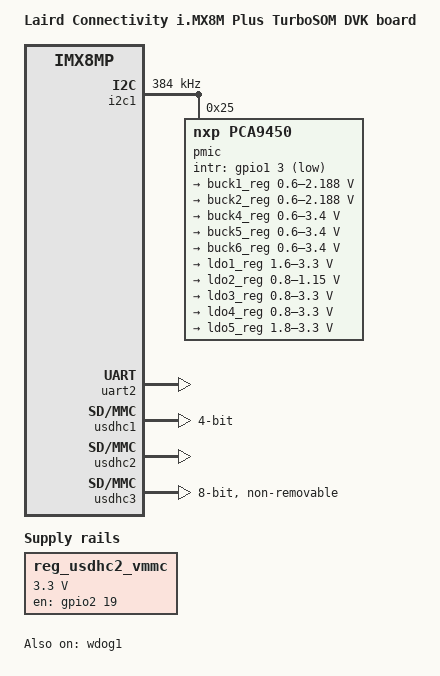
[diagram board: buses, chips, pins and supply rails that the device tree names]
// SPDX-License-Identifier: (GPL-2.0+ OR MIT)
/*
* Copyright 2021 Laird Connectivity
  */

/dts-v1/;

#include <dt-bindings/usb/pd.h>
#include <dt-bindings/net/ti-dp83867.h>
#include "imx8mp.dtsi"

/ {
	model = "Laird Connectivity i.MX8M Plus TurboSOM DVK board";
	compatible = "fsl,imx8mp-turbosom", "fsl,imx8mp";

	reserved-memory {
		#address-cells = <2>;
		#size-cells = <2>;
		ranges;

		linux,cma {
			alloc-ranges = <0 0x40000000 0 0x20000000>;
		};

		rpmsg_reserved: rpmsg@0x55800000 {
			no-map;
			reg = <0 0x55800000 0 0x800000>;
		};
	};

	chosen {
		stdout-path = &uart2;
	};

	gpio_wifi {
		compatible = "gpio-of-helper";
		status = "disabled";

		pinctrl-names = "default";
		pinctrl-0 = <&pinctrl_wifibs>;

		wifi_bs0 {
			gpio-name = "wifi_bs0";
			gpio = <&gpio2 8 GPIO_ACTIVE_HIGH>;
			output;
		};

		wifi_bs1 {
			gpio-name = "wifi_bs1";
			gpio = <&gpio2 9 GPIO_ACTIVE_HIGH>;
			output;
		};
	};

	reg_usdhc2_vmmc: regulator-usdhc2 {
		compatible = "regulator-fixed";
		regulator-name = "VSD_3V3";
		regulator-min-microvolt = <3300000>;
		regulator-max-microvolt = <3300000>;
		gpio = <&gpio2 19 GPIO_ACTIVE_HIGH>;
		enable-active-high;
		startup-delay-us = <100>;
		off-on-delay-us = <12000>;
	};
};

&clk {
	init-on-array = <IMX8MP_CLK_HSIO_ROOT>;
};

&A53_0 {
	cpu-supply = <&buck2_reg>;
};

&cpu_alert0 {
	temperature = <95000>;
};

&cpu_crit0 {
	temperature = <105000>;
};

&soc_alert0 {
	temperature = <95000>;
};

&soc_crit0 {
	temperature = <105000>;
};

&i2c1 {
	clock-frequency = <384000>;
	pinctrl-names = "default";
	pinctrl-0 = <&pinctrl_i2c1>;
	status = "okay";

	pmic: pca9450@25 {
		reg = <0x25>;
		compatible = "nxp,pca9450";
		/* PMIC PCA9450 PMIC_nINT GPIO1_IO3 */
		pinctrl-0 = <&pinctrl_pmic>;
		gpio_intr = <&gpio1 3 GPIO_ACTIVE_LOW>;

		regulators {
			#address-cells = <1>;
			#size-cells = <0>;

			pca9450,pmic-buck2-uses-i2c-dvs;
			/* Run/Standby voltage */
			pca9450,pmic-buck2-dvs-voltage = <950000>, <850000>;

			buck1_reg: regulator@0 {
				reg = <0>;
				regulator-compatible = "buck1";
				regulator-min-microvolt = <600000>;
				regulator-max-microvolt = <2187500>;
				regulator-boot-on;
				regulator-always-on;
				regulator-ramp-delay = <3125>;
			};

			buck2_reg: regulator@1 {
				reg = <1>;
				regulator-compatible = "buck2";
				regulator-min-microvolt = <600000>;
				regulator-max-microvolt = <2187500>;
				regulator-boot-on;
				regulator-always-on;
				regulator-ramp-delay = <3125>;
			};

			buck4_reg: regulator@3 {
				reg = <3>;
				regulator-compatible = "buck4";
				regulator-min-microvolt = <600000>;
				regulator-max-microvolt = <3400000>;
				regulator-boot-on;
				regulator-always-on;
			};

			buck5_reg: regulator@4 {
				reg = <4>;
				regulator-compatible = "buck5";
				regulator-min-microvolt = <600000>;
				regulator-max-microvolt = <3400000>;
				regulator-boot-on;
				regulator-always-on;
			};

			buck6_reg: regulator@5 {
				reg = <5>;
				regulator-compatible = "buck6";
				regulator-min-microvolt = <600000>;
				regulator-max-microvolt = <3400000>;
				regulator-boot-on;
				regulator-always-on;
			};

			ldo1_reg: regulator@6 {
				reg = <6>;
				regulator-compatible = "ldo1";
				regulator-min-microvolt = <1600000>;
				regulator-max-microvolt = <3300000>;
				regulator-boot-on;
				regulator-always-on;
			};

			ldo2_reg: regulator@7 {
				reg = <7>;
				regulator-compatible = "ldo2";
				regulator-min-microvolt = <800000>;
				regulator-max-microvolt = <1150000>;
				regulator-boot-on;
				regulator-always-on;
			};

			ldo3_reg: regulator@8 {
				reg = <8>;
				regulator-compatible = "ldo3";
				regulator-min-microvolt = <800000>;
				regulator-max-microvolt = <3300000>;
				regulator-boot-on;
				regulator-always-on;
			};

			ldo4_reg: regulator@9 {
				reg = <9>;
				regulator-compatible = "ldo4";
				regulator-min-microvolt = <800000>;
				regulator-max-microvolt = <3300000>;
				regulator-boot-on;
				regulator-always-on;
			};

			ldo5_reg: regulator@10 {
				reg = <10>;
				regulator-compatible = "ldo5";
				regulator-min-microvolt = <1800000>;
				regulator-max-microvolt = <3300000>;
			};
		};
	};
};

&pcie {
	clocks = <&clk IMX8MP_CLK_HSIO_AXI_DIV>,
		 <&clk IMX8MP_CLK_PCIE_AUX>,
		 <&clk IMX8MP_CLK_PCIE_PHY>,
		 <&clk IMX8MP_CLK_PCIE_ROOT>;
	clock-names = "pcie", "pcie_aux", "pcie_phy", "pcie_bus";
	assigned-clocks = <&clk IMX8MP_CLK_HSIO_AXI_SRC>,
			  <&clk IMX8MP_CLK_PCIE_AUX>;
	assigned-clock-parents = <&clk IMX8MP_SYS_PLL2_500M>,
				 <&clk IMX8MP_SYS_PLL2_50M>;
};

&sdma2 {
	status = "okay";
};

&uart1 {
	pinctrl-names = "default";
	pinctrl-0 = <&pinctrl_uart1>;
	assigned-clocks = <&clk IMX8MP_CLK_UART1>;
	assigned-clock-parents = <&clk IMX8MP_SYS_PLL1_80M>;
};

&uart2 {
	/* console */
	pinctrl-names = "default";
	pinctrl-0 = <&pinctrl_uart2>;
	status = "okay";
};

&uart3 { /* BT */
	pinctrl-names = "default";
	pinctrl-0 = <&pinctrl_uart3>;
	assigned-clocks = <&clk IMX8MP_CLK_UART3>;
	assigned-clock-parents = <&clk IMX8MP_SYS_PLL1_80M>;
	fsl,uart-has-rtscts;
};

&usdhc1 {
	pinctrl-names = "default", "state_100mhz", "state_200mhz";
	pinctrl-0 = <&pinctrl_usdhc1>;
	pinctrl-1 = <&pinctrl_usdhc1_100mhz>;
	pinctrl-2 = <&pinctrl_usdhc1_200mhz>;

	bus-width = <4>;
};

&usdhc2 {
	pinctrl-names = "default", "state_100mhz", "state_200mhz";
	pinctrl-0 = <&pinctrl_usdhc2>;
	pinctrl-1 = <&pinctrl_usdhc2_100mhz>;
	pinctrl-2 = <&pinctrl_usdhc2_200mhz>;

	status = "okay";
};

&usdhc3 {
	pinctrl-names = "default", "state_100mhz", "state_200mhz";
	pinctrl-0 = <&pinctrl_usdhc3>;
	pinctrl-1 = <&pinctrl_usdhc3_100mhz>;
	pinctrl-2 = <&pinctrl_usdhc3_200mhz>;

	bus-width = <8>;
	non-removable;

	status = "okay";
};

&wdog1 {
	pinctrl-names = "default";
	pinctrl-0 = <&pinctrl_wdog>;
	fsl,ext-reset-output;
	status = "okay";
};

&iomuxc {
	pinctrl_i2c1: i2c1grp {
		fsl,pins = <
			MX8MP_IOMUXC_I2C1_SCL__I2C1_SCL		0x400001c2
			MX8MP_IOMUXC_I2C1_SDA__I2C1_SDA		0x400001c2
		>;
	};

	pinctrl_pmic: pmicirq {
		fsl,pins = <
			MX8MP_IOMUXC_GPIO1_IO03__GPIO1_IO03	0x40
		>;
	};

	pinctrl_uart2: uart2grp {
		fsl,pins = <
			MX8MP_IOMUXC_UART2_RXD__UART2_DCE_RX	0x49
			MX8MP_IOMUXC_UART2_TXD__UART2_DCE_TX	0x49
		>;
	};

	pinctrl_uart3: uart3grp {
		fsl,pins = <
			MX8MP_IOMUXC_ECSPI1_SCLK__UART3_DCE_RX		0x140
			MX8MP_IOMUXC_ECSPI1_MOSI__UART3_DCE_TX		0x140
			MX8MP_IOMUXC_ECSPI1_SS0__UART3_DCE_RTS		0x140
			MX8MP_IOMUXC_ECSPI1_MISO__UART3_DCE_CTS		0x140
		>;
	};

	pinctrl_usdhc1: usdhc1grp {
		fsl,pins = <
			MX8MP_IOMUXC_SD1_CLK__USDHC1_CLK	0x190
			MX8MP_IOMUXC_SD1_CMD__USDHC1_CMD	0x1d0
			MX8MP_IOMUXC_SD1_DATA0__USDHC1_DATA0	0x1d0
			MX8MP_IOMUXC_SD1_DATA1__USDHC1_DATA1	0x1d0
			MX8MP_IOMUXC_SD1_DATA2__USDHC1_DATA2	0x1d0
			MX8MP_IOMUXC_SD1_DATA3__USDHC1_DATA3	0x1d0
		>;
	};

	pinctrl_usdhc1_100mhz: usdhc1grp-100mhz {
		fsl,pins = <
			MX8MP_IOMUXC_SD1_CLK__USDHC1_CLK	0x194
			MX8MP_IOMUXC_SD1_CMD__USDHC1_CMD	0x1d4
			MX8MP_IOMUXC_SD1_DATA0__USDHC1_DATA0	0x1d4
			MX8MP_IOMUXC_SD1_DATA1__USDHC1_DATA1	0x1d4
			MX8MP_IOMUXC_SD1_DATA2__USDHC1_DATA2	0x1d4
			MX8MP_IOMUXC_SD1_DATA3__USDHC1_DATA3	0x1d4
		>;
	};

	pinctrl_usdhc1_200mhz: usdhc1grp-200mhz {
		fsl,pins = <
			MX8MP_IOMUXC_SD1_CLK__USDHC1_CLK	0x196
			MX8MP_IOMUXC_SD1_CMD__USDHC1_CMD	0x1d6
			MX8MP_IOMUXC_SD1_DATA0__USDHC1_DATA0	0x1d6
			MX8MP_IOMUXC_SD1_DATA1__USDHC1_DATA1	0x1d6
			MX8MP_IOMUXC_SD1_DATA2__USDHC1_DATA2	0x1d6
			MX8MP_IOMUXC_SD1_DATA3__USDHC1_DATA3	0x1d6
		>;
	};

	pinctrl_usdhc2: usdhc2grp {
		fsl,pins = <
			MX8MP_IOMUXC_SD2_CLK__USDHC2_CLK	0x190
			MX8MP_IOMUXC_SD2_CMD__USDHC2_CMD	0x1d0
			MX8MP_IOMUXC_SD2_DATA0__USDHC2_DATA0	0x1d0
			MX8MP_IOMUXC_SD2_DATA1__USDHC2_DATA1	0x1d0
			MX8MP_IOMUXC_SD2_DATA2__USDHC2_DATA2	0x1d0
			MX8MP_IOMUXC_SD2_DATA3__USDHC2_DATA3	0x1d0
			MX8MP_IOMUXC_GPIO1_IO04__USDHC2_VSELECT	0xc0
		>;
	};

	pinctrl_usdhc2_100mhz: usdhc2grp-100mhz {
		fsl,pins = <
			MX8MP_IOMUXC_SD2_CLK__USDHC2_CLK	0x194
			MX8MP_IOMUXC_SD2_CMD__USDHC2_CMD	0x1d4
			MX8MP_IOMUXC_SD2_DATA0__USDHC2_DATA0	0x1d4
			MX8MP_IOMUXC_SD2_DATA1__USDHC2_DATA1	0x1d4
			MX8MP_IOMUXC_SD2_DATA2__USDHC2_DATA2	0x1d4
			MX8MP_IOMUXC_SD2_DATA3__USDHC2_DATA3	0x1d4
			MX8MP_IOMUXC_GPIO1_IO04__USDHC2_VSELECT 0xc0
		>;
	};

	pinctrl_usdhc2_200mhz: usdhc2grp-200mhz {
		fsl,pins = <
			MX8MP_IOMUXC_SD2_CLK__USDHC2_CLK	0x196
			MX8MP_IOMUXC_SD2_CMD__USDHC2_CMD	0x1d6
			MX8MP_IOMUXC_SD2_DATA0__USDHC2_DATA0	0x1d6
			MX8MP_IOMUXC_SD2_DATA1__USDHC2_DATA1	0x1d6
			MX8MP_IOMUXC_SD2_DATA2__USDHC2_DATA2	0x1d6
			MX8MP_IOMUXC_SD2_DATA3__USDHC2_DATA3	0x1d6
			MX8MP_IOMUXC_GPIO1_IO04__USDHC2_VSELECT 0xc0
		>;
	};

	pinctrl_usdhc3: usdhc3grp {
		fsl,pins = <
			MX8MP_IOMUXC_NAND_WE_B__USDHC3_CLK	0x190
			MX8MP_IOMUXC_NAND_WP_B__USDHC3_CMD	0x1d0
			MX8MP_IOMUXC_NAND_DATA04__USDHC3_DATA0	0x1d0
			MX8MP_IOMUXC_NAND_DATA05__USDHC3_DATA1	0x1d0
			MX8MP_IOMUXC_NAND_DATA06__USDHC3_DATA2	0x1d0
			MX8MP_IOMUXC_NAND_DATA07__USDHC3_DATA3	0x1d0
			MX8MP_IOMUXC_NAND_RE_B__USDHC3_DATA4	0x1d0
			MX8MP_IOMUXC_NAND_CE2_B__USDHC3_DATA5	0x1d0
			MX8MP_IOMUXC_NAND_CE3_B__USDHC3_DATA6	0x1d0
			MX8MP_IOMUXC_NAND_CLE__USDHC3_DATA7	0x1d0
			MX8MP_IOMUXC_NAND_CE1_B__USDHC3_STROBE	0x190
		>;
	};

	pinctrl_usdhc3_100mhz: usdhc3grp-100mhz {
		fsl,pins = <
			MX8MP_IOMUXC_NAND_WE_B__USDHC3_CLK	0x194
			MX8MP_IOMUXC_NAND_WP_B__USDHC3_CMD	0x1d4
			MX8MP_IOMUXC_NAND_DATA04__USDHC3_DATA0	0x1d4
			MX8MP_IOMUXC_NAND_DATA05__USDHC3_DATA1	0x1d4
			MX8MP_IOMUXC_NAND_DATA06__USDHC3_DATA2	0x1d4
			MX8MP_IOMUXC_NAND_DATA07__USDHC3_DATA3	0x1d4
			MX8MP_IOMUXC_NAND_RE_B__USDHC3_DATA4	0x1d4
			MX8MP_IOMUXC_NAND_CE2_B__USDHC3_DATA5	0x1d4
			MX8MP_IOMUXC_NAND_CE3_B__USDHC3_DATA6	0x1d4
			MX8MP_IOMUXC_NAND_CLE__USDHC3_DATA7	0x1d4
			MX8MP_IOMUXC_NAND_CE1_B__USDHC3_STROBE	0x194
		>;
	};

	pinctrl_usdhc3_200mhz: usdhc3grp-200mhz {
		fsl,pins = <
			MX8MP_IOMUXC_NAND_WE_B__USDHC3_CLK	0x196
			MX8MP_IOMUXC_NAND_WP_B__USDHC3_CMD	0x1d6
			MX8MP_IOMUXC_NAND_DATA04__USDHC3_DATA0	0x1d6
			MX8MP_IOMUXC_NAND_DATA05__USDHC3_DATA1	0x1d6
			MX8MP_IOMUXC_NAND_DATA06__USDHC3_DATA2	0x1d6
			MX8MP_IOMUXC_NAND_DATA07__USDHC3_DATA3	0x1d6
			MX8MP_IOMUXC_NAND_RE_B__USDHC3_DATA4	0x1d6
			MX8MP_IOMUXC_NAND_CE2_B__USDHC3_DATA5	0x1d6
			MX8MP_IOMUXC_NAND_CE3_B__USDHC3_DATA6	0x1d6
			MX8MP_IOMUXC_NAND_CLE__USDHC3_DATA7	0x1d6
			MX8MP_IOMUXC_NAND_CE1_B__USDHC3_STROBE	0x196
		>;
	};

	pinctrl_wdog: wdoggrp {
		fsl,pins = <
			MX8MP_IOMUXC_GPIO1_IO02__WDOG1_WDOG_B	0xc6
		>;
	};

	pinctrl_wifibs: wifibsgrp {
		fsl,pins = <
			MX8MP_IOMUXC_SD1_DATA6__GPIO2_IO08         0x00000006
			MX8MP_IOMUXC_SD1_DATA7__GPIO2_IO09         0x00000006
		>;
	};
};
